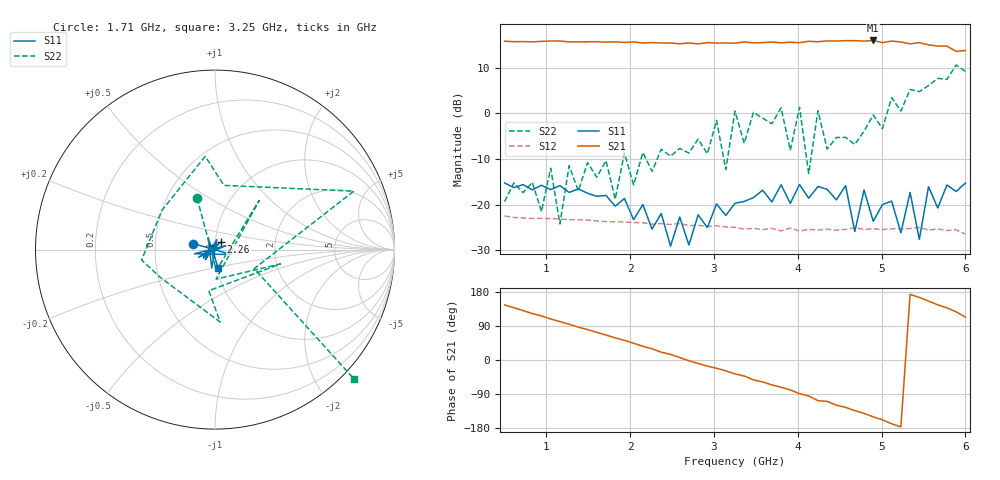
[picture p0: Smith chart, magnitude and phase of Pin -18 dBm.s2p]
! RsaToolbox (C) 2015 Rohde & Schwarz America
! Number of points: 51
! Number of ports: 2
! Balanced ports?: No
# Hz S RI R 50
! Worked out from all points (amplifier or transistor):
!   51 points, 500 MHz to 6 GHz, reference 50 ohm
!   highest |S21| = 16.0 dB at 4.9 GHz (marker M1)
!   |S21| within 3 dB of that: start of sweep to end of sweep
!   unconditionally stable (mu >= 1): start of sweep to 3 GHz; 3.049 GHz to 3.218 GHz; 4.295 GHz to 4.788 GHz (the widest 3 of 7)
!   at 1.38 GHz: K = 1.35, MAG = 16.0 dB, |S12| = -23.3 dB
!   at 3.25 GHz: K = 0.05, MSG = 20.2 dB, |S12| = -24.9 dB
!   at 6 GHz: K = -14.85, MSG = 20.1 dB, |S12| = -26.4 dB
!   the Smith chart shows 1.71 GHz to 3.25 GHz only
!   S11 on the Smith chart (normalised r, x): 1.71 GHz: 0.78, +0.05; 2.26 GHz: 1.07, +0.09; 3.25 GHz: 1.01, -0.21
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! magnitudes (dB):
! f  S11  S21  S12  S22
! 500 MHz  -15.2  15.8  -22.4  -19.3
! 940 MHz  -15.7  15.8  -23.0  -21.5
! 1.05 GHz  -16.7  15.9  -23.1  -12.0
! 1.16 GHz  -15.8  15.8  -23.1  -24.2
! 1.27 GHz  -17.3  15.7  -23.2  -11.5
! 1.49 GHz  -17.5  15.7  -23.3  -10.8
! 1.71 GHz  -18.0  15.6  -23.7  -10.4
! 2.26 GHz  -25.3  15.5  -24.3  -12.7
! 2.37 GHz  -21.9  15.4  -24.1  -7.9
! 3.03 GHz  -19.8  15.4  -24.6  -1.5
! 3.14 GHz  -22.4  15.4  -24.9  -12.3
! 3.25 GHz  -19.7  15.4  -24.9  0.5
! 3.91 GHz  -19.7  15.6  -25.1  -8.1
! 4.02 GHz  -15.6  15.5  -25.8  1.3
! 4.13 GHz  -18.6  15.8  -25.4  -13.2
! 4.24 GHz  -16.0  15.7  -25.6  0.6
! 4.35 GHz  -16.6  15.9  -25.3  -7.8
! 4.9 GHz  -23.6  16.0  -25.2  -0.3
! 5.12 GHz  -19.2  15.8  -25.3  3.5
! 5.45 GHz  -27.6  15.5  -25.0  4.8
! 5.56 GHz  -16.1  15.0  -25.6  6.1
! 6 GHz  -15.2  13.8  -26.4  9.2
